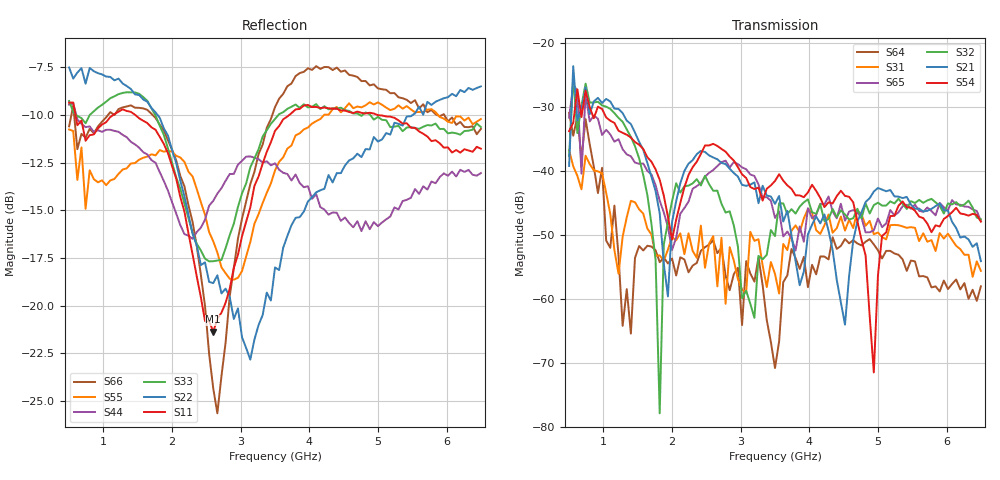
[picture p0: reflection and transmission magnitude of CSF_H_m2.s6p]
!Keysight Technologies,M9804A,MY58100912,A.14.10.03
!Date: Thursday, April 27, 2023 10:28:33
!Correction: S11(C  6-Port  )
!S12(C  6-Port  )
!S13(C  6-Port  )
!S14(C  6-Port  )
!S15(C  6-Port  )
!S16(C  6-Port  )
!S21(C  6-Port  )
!S22(C  6-Port  )
!S23(C  6-Port  )
!S24(C  6-Port  )
!S25(C  6-Port  )
!S26(C  6-Port  )
!S31(C  6-Port  )
!S32(C  6-Port  )
!S33(C  6-Port  )
!S34(C  6-Port  )
!S35(C  6-Port  )
!S36(C  6-Port  )
!S41(C  6-Port  )
!S42(C  6-Port  )
!S43(C  6-Port  )
!S44(C  6-Port  )
!S45(C  6-Port  )
!S46(C  6-Port  )
!S51(C  6-Port  )
!S52(C  6-Port  )
!S53(C  6-Port  )
!S54(C  6-Port  )
!S55(C  6-Port  )
!S56(C  6-Port  )
!S61(C  6-Port  )
!S62(C  6-Port  )
!S63(C  6-Port  )
!S64(C  6-Port  )
!S65(C  6-Port  )
!S66(C  6-Port  )
!S6P File: Measurement: :
# Hz S  RI  R 50
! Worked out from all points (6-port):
!   101 points, 500 MHz to 6.5 GHz, reference 50 ohm
!   strongest paths, dB at 500 MHz, 2 GHz, 3.5 GHz, 5 GHz, 6.5 GHz:
!     S54: -33.8, -50.7, -41.6, -56.4, -47.9
!     S21: -39.2, -48.0, -45.2, -42.7, -54.1
!     S32: -37.7, -44.8, -50.2, -45.0, -47.6
!     S65: -31.7, -52.4, -47.4, -47.5, -47.8
!     S31: -36.8, -50.4, -56.1, -49.6, -55.6
!     S64: -30.9, -53.7, -70.8, -52.4, -58.1
!   lowest |S11| = -21.4 dB at 2.6 GHz (marker M1), VSWR 1.19, Z = 42.4 + j2.3 ohm
!   |S11| at or under -10 dB: 592.5 MHz to 1.145 GHz (552.3 MHz wide, 63.6 % of centre); 1.462 GHz to 3.71 GHz (2.248 GHz wide, 86.9 % of centre); 4.99 GHz to end of sweep
